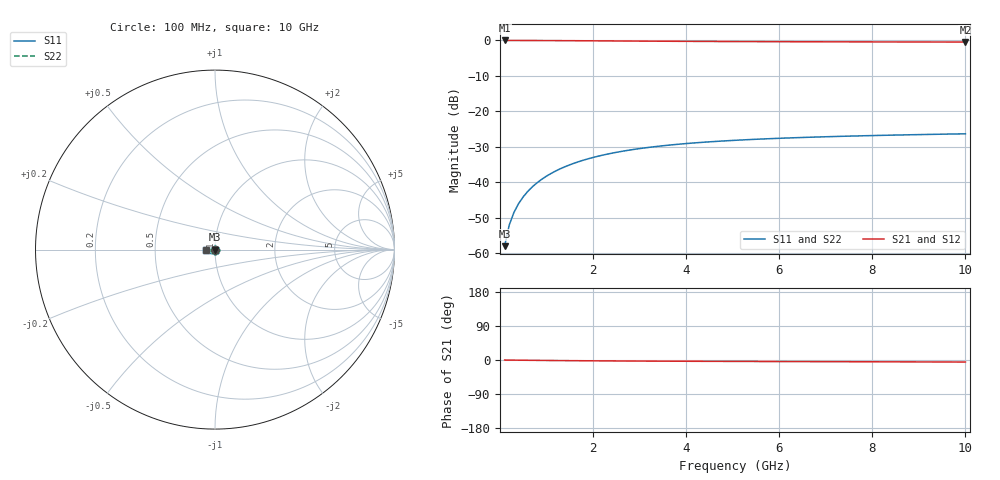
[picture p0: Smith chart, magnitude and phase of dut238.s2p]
! Touchstone file exported from HFSS 2024.1.0
!  File:  C:/UserFiles/LocalFiles/RDL_TSV_Batchsim/temp_TSV1_238_1779389375.aedt
!  Generated:  02:54:20 AM May 22, 2026
!  Design:  TSV1
!  Project:  temp_TSV1_238_1779389375
!  Setup:  Setup1
!  Solution:  Sweep
! Variables:
!  dtsv = 9.71um
!  hbump = 3um
!  htsv = 84.6um
!  lrdl = 252.1521522um
!  p = 40
!  p1 = 46.37um
!  t = 500um
!  trdl = 3um
!  wrdl = 24.89489489um
# GHz S MA R 50.000000
! Terminal data exported
! Port[1] = TSV22_T1
! Port[2] = TSV22_T2
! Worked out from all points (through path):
!   100 points, 100 MHz to 10 GHz, reference 50 ohm
!   highest |S21| = 0.00 dB at 100 MHz (marker M1); lowest = -0.4 dB at 10 GHz (marker M2)
!   lowest |S11| = -57.9 dB at 100 MHz (marker M3), VSWR 1.00, Z = 50 - j0.126 ohm
!   |S11| at or under -10 dB: start of sweep to end of sweep
!   |S22| runs from -57.9 to -26.3 dB; largest |S21 - S12| = 4.3e-15
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0.1  0.001268 -84.4  0.9998 -0.1  0.9998 -0.1  0.001268 -84.4
! Gamma 0 0 0 0
! Port Impedance 50 0 50 0
0.2  0.002522 -89.5  0.9997 -0.3  0.9997 -0.3  0.002522 -89.5
0.3  0.00378 -92.4  0.9995 -0.4  0.9995 -0.4  0.00378 -92.4
0.4  0.005034 -94.6  0.9992 -0.5  0.9992 -0.5  0.005034 -94.6
0.5  0.00628 -96.7  0.9988 -0.6  0.9988 -0.6  0.00628 -96.7
0.6  0.007514 -98.6  0.9984 -0.7  0.9984 -0.7  0.007514 -98.6
0.7  0.008734 -100.5  0.998 -0.9  0.998 -0.9  0.008734 -100.5
0.8  0.009937 -102.2  0.9974 -1.0  0.9974 -1.0  0.009937 -102.2
0.9  0.01112 -104.0  0.9969 -1.1  0.9969 -1.1  0.01112 -104.0
1.1  0.01342 -107.4  0.9955 -1.3  0.9955 -1.3  0.01342 -107.4
1.4  0.01669 -112.2  0.9933 -1.6  0.9933 -1.6  0.01669 -112.2
1.6  0.01874 -115.2  0.9916 -1.8  0.9916 -1.8  0.01874 -115.2
1.8  0.02067 -118.1  0.9898 -2.0  0.9898 -2.0  0.02067 -118.1
2.1  0.02336 -122.3  0.9871 -2.2  0.9871 -2.2  0.02336 -122.3
2.5  0.02657 -127.5  0.9835 -2.5  0.9835 -2.5  0.02657 -127.5
2.9  0.02936 -132.2  0.98 -2.8  0.98 -2.8  0.02936 -132.2
3.4  0.03235 -137.5  0.9758 -3.0  0.9758 -3.0  0.03235 -137.5
4.2  0.03616 -145.0  0.9701 -3.4  0.9701 -3.4  0.03616 -145.0
5.1  0.0394 -152.0  0.9648 -3.8  0.9648 -3.8  0.0394 -152.0
6.7  0.04344 -162.1  0.9579 -4.3  0.9579 -4.3  0.04344 -162.1
8.4  0.04637 -170.6  0.953 -4.8  0.953 -4.8  0.04637 -170.6
10  0.04846 -177.3  0.9498 -5.4  0.9498 -5.4  0.04846 -177.3
